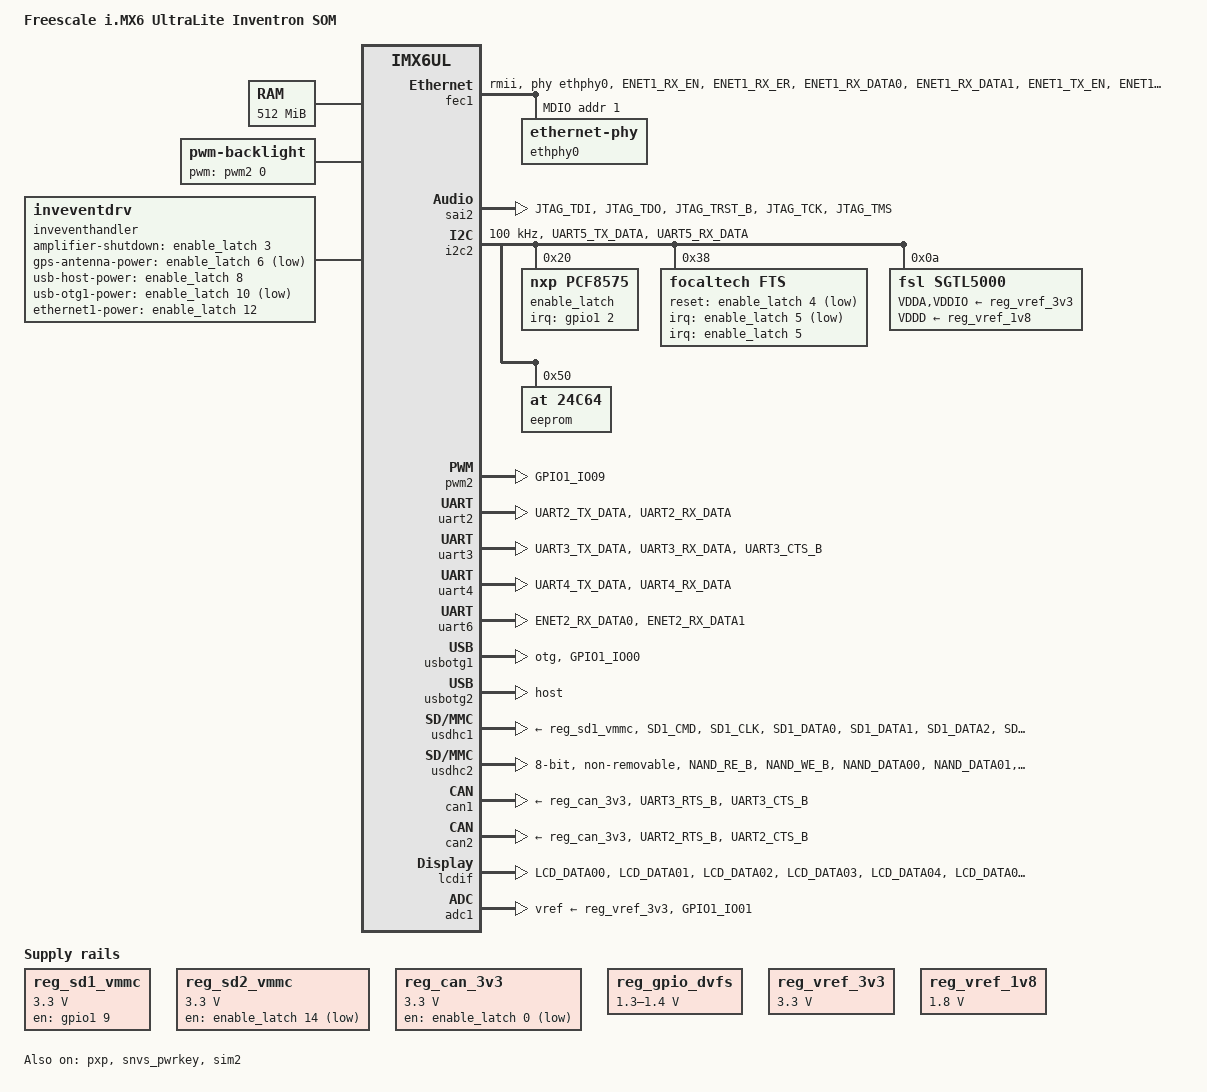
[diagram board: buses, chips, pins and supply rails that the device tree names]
/*
 * Copyright (C) 2015 Freescale Semiconductor, Inc.
 *
 * This program is free software; you can redistribute it and/or modify
 * it under the terms of the GNU General Public License version 2 as
 * published by the Free Software Foundation.
 */

/dts-v1/;

#include "imx6ul-invsom.dtsi"


/ {
	model = "Freescale i.MX6 UltraLite Inventron SOM";
	compatible = "fsl,imx6ul-invsom", "fsl,imx6ul";

	chosen {
		stdout-path = &uart6;
	};

	memory@80000000 {
		device_type = "memory";
		reg = <0x80000000 0x20000000>; /* 512 MB RAM*/
	};

	reserved-memory {
		#address-cells = <1>;
		#size-cells = <1>;
		ranges;

		linux,cma {
			compatible = "shared-dma-pool";
			reusable;
			size = <0x14000000>;
			linux,cma-default;
		};
	};

	backlight {
		compatible = "pwm-backlight";
		pwms = <&pwm2 0 5000000>;
		pwm-names = "lcdbacklight";
		brightness-levels = <0 4 8 16 32 64 128 250>;
		default-brightness-level = <6>;
		status = "okay";
	};
	
	inveventhandler {
		compatible = "inveventdrv";
		status = "okay";
		
		amplifier-shutdown-gpio = <&enable_latch 3 GPIO_ACTIVE_HIGH>; // v1r1'de pin onune mosfet eklenmis.
		gps-antenna-power-gpio = <&enable_latch 6 GPIO_ACTIVE_LOW>;
		usb-host-power-gpio = <&enable_latch 8 GPIO_ACTIVE_HIGH>;
		usb-otg1-power-gpio = <&enable_latch 10 GPIO_ACTIVE_LOW>;
		ethernet1-power-gpio = <&enable_latch 12 GPIO_ACTIVE_HIGH>;

	};
	
	pxp_v4l2 {
		compatible = "fsl,imx6ul-pxp-v4l2", "fsl,imx6sx-pxp-v4l2", "fsl,imx6sl-pxp-v4l2";
		status = "okay";
	};

	reg_sd1_vmmc: sd1_regulator {
		compatible = "regulator-fixed";
		regulator-name = "VSD_3V3";
		regulator-min-microvolt = <3300000>;
		regulator-max-microvolt = <3300000>;
		gpio = <&gpio1 9 GPIO_ACTIVE_HIGH>;
		off-on-delay = <20000>;
		enable-active-high;
	};
	
	reg_sd2_vmmc: sd2_regulator {
		compatible = "regulator-fixed";
		regulator-name = "VSD_3V3_2";
		regulator-min-microvolt = <3300000>;
		regulator-max-microvolt = <3300000>;
		gpio = <&enable_latch 14 GPIO_ACTIVE_LOW>;
		off-on-delay = <20000>;
	};

	reg_can_3v3: regulator@0 {
		compatible = "regulator-fixed";
		reg = <0>;
		regulator-name = "can-3v3";
		regulator-min-microvolt = <3300000>;
		regulator-max-microvolt = <3300000>;
		gpios = <&enable_latch 0 GPIO_ACTIVE_LOW>;
	  	regulator-always-on;
		off-on-delay = <20>;
	};
	
	reg_gpio_dvfs: regulator-gpio {
		compatible = "regulator-gpio";
		pinctrl-names = "default";
		pinctrl-0 = <&pinctrl_dvfs>;
		regulator-min-microvolt = <1300000>;
		regulator-max-microvolt = <1400000>;
		regulator-name = "gpio_dvfs";
		regulator-type = "voltage";
		states = <1300000 0x1 1400000 0x0>;
	};
	
	reg_vref_3v3: regulator-vref {
	  compatible = "regulator-fixed";
	  regulator-name = "vref-3v3";
	  regulator-min-microvolt = <3300000>;
	  regulator-max-microvolt = <3300000>;
	  regulator-always-on;
	  regulator-boot-on;		  
	};
	
	reg_vref_1v8: regulator-vref-1v8 { /* V1.8 */
		compatible = "regulator-fixed";
		regulator-name = "vref-1v8";
		regulator-min-microvolt = <1800000>;
		regulator-max-microvolt = <1800000>;
		regulator-always-on;
	  	regulator-boot-on;		  
	};

	sound {
		compatible = "fsl,imx-audio-sgtl5000";
		model = "imx6ul-sgtl5000";
		ssi-controller = <&sai2>;
		audio-codec = <&sgtl5000>;
		audio-routing =
			"MIC_IN", "Mic Jack",
			"Mic Jack", "Mic Bias",
			"LINE_IN", "Line In Jack",
			"Headphone Jack", "HP_OUT",
			"Ext Spk", "LINE_OUT";
		fsl,no-audmux;
		status = "okay";
	};
};

&clks {
	assigned-clocks = <&clks IMX6UL_CLK_PLL4_AUDIO_DIV>;
	assigned-clock-rates = <786432000>;
};

&fec1 {
	pinctrl-names = "default";
	pinctrl-0 = <&pinctrl_enet1>;
	phy-reset-gpios = <&enable_latch 13 GPIO_ACTIVE_HIGH>; /* ENET1_nRST reset active high (pcf ile phy-rst pini arasindaki mosfetten dolayi) */
	phy-reset-duration = <1>;
	phy-reset-active-high;
	phy-mode = "rmii";
	phy-handle = <&ethphy0>;
	
	nvmem-cells = <&fec_mac_address>;
	nvmem-cell-names = "mac-address";
	nvmem_macaddr_swap;
				
	status = "okay";
	mdio {
		#address-cells = <1>;
		#size-cells = <0>;

		ethphy0: ethernet-phy@1 {
			/* compatible = "ethernet-phy-ieee802.3-c22"; */
			reg = <1>;
			clocks = <&clks IMX6UL_CLK_ENET_REF>;
			clock-names = "rmii-ref";
			status = "okay";			
		};

	};	
};

&sai2 {
	pinctrl-names = "default";
	pinctrl-0 = <&pinctrl_sai2>;
	#clock-cells = <0>;
	assigned-clocks = <&clks IMX6UL_CLK_SAI2_SEL>,
			<&clks IMX6UL_CLK_SAI2>;
	assigned-clock-rates = <0>, <11851852>;
	fsl,sai-mclk-direction-output;
	/* fsl,txmasterflag = <1>;
	fsl,rxmasterflag = <1>; */
	status = "okay";
};

&i2c2 {
	clock-frequency = <100000>;
	pinctrl-names = "default";
	pinctrl-0 = <&pinctrl_i2c2>;
	status = "okay";

	enable_latch: pcf8575@20 {
		compatible = "nxp,pcf8575";
		reg = <0x20>;
		pinctrl-names = "default";
		pinctrl-0 = <&pinctrl_pcf_irq>;		
		gpio-controller;
		#gpio-cells = <2>;
		lines-initial-states = <0x6458>; //inputs and H output as 1, L output as 0
		/* 0x6458 --> 0110 0100 0101 1000
		   0x9BA7 --> 1001 1011 1010 0111 (pinlere giden)
		
		P17 : 1
		P16 : 0
		P15 : 0
		P14 : 1
		P13 : 1
		P12 : 0
		...
		
		 */
		interrupt-controller;
		#interrupt-cells = <2>;
		interrupt-parent = <&gpio1>;
		/*
		 1 = low-to-high edge triggered
        2 = high-to-low edge triggered
        4 = active high level-sensitive
        8 = active low level-sensitive
		*/
		interrupts = <2 2>;
	};

	focaltech@38{ 
		compatible = "focaltech,fts";
		reg = <0x38>;  /* 7 bit addr */
		interrupt-parent = <&enable_latch>;
		interrupts = <5 0x01>; /* PCF 5 */
		focaltech,panel-type = <FT5426>;
		focaltech,reset-gpio = <&enable_latch 4 GPIO_ACTIVE_LOW>;  /* ctp reset */
		focaltech,irq-gpio = <&enable_latch 5 0x01>;
		focaltech,max-touch-number = <5>;
		focaltech,display-coords =  <0 0 480 272>;
		status = "okay";
	};
	
	sgtl5000: codec@0a {
		compatible = "fsl,sgtl5000";
		#sound-dai-cells = <0>;
		reg = <0x0a>;
		VDDA-supply = <&reg_vref_3v3>;
		VDDIO-supply = <&reg_vref_3v3>;
		VDDD-supply = <&reg_vref_1v8>;
		/* clocks = <&clks IMX6UL_CLK_SAI2>;
		clock-names = "mclk"; */
		clocks = <&sai2>;
		status = "okay";
	};
	
	eeprom: eeprom@50 {
        compatible = "at,24c64";
        reg = <0x50>;
        status = "okay";
    };
};

&pwm2 {
	pinctrl-names = "default";
	pinctrl-0 = <&pinctrl_pwm2>;
	status = "okay";
};

&pxp {
	status = "okay";
};

&gpmi {
	pinctrl-names = "default";
	pinctrl-0 = <&pinctrl_gpmi_nand_1>;
	status = "disabled";
	nand-on-flash-bbt;
	partition@0 {
		label = "uboot";
		reg = <0x00000000 0x00400000>;
	};
	partition@1 {
		label = "dtb";
		reg = <0x00400000 0x00100000>;
	};
	partition@2 {
		label = "kernel";
		reg = <0x00500000 0x00800000>;
	};
	partition@3 {
		label = "rootfs";
		reg = <0x00D00000 0>;
	};
};

&uart2 { /* gsm */
	pinctrl-names = "default";
	pinctrl-0 = <&pinctrl_uart2>;
	status = "okay";
};

&uart3 { /* rs232 - rs485 */
	pinctrl-names = "default";
	pinctrl-0 = <&pinctrl_uart3>;
	uart-has-rtscts;
	linux,rs485-enabled-at-boot-time;	
	status = "okay";
};

&uart4 {
	pinctrl-names = "default";
	pinctrl-0 = <&pinctrl_uart4>;
	status = "okay";
};

&uart6 {
	pinctrl-names = "default";
	pinctrl-0 = <&pinctrl_uart6>;
	status = "okay";
};

&usbotg1 {
	pinctrl-names = "default";
	pinctrl-0 = <&pinctrl_usb_otg1_id>;
	dr_mode = "otg";
	srp-disable;
	hnp-disable;
	adp-disable;
	disable-over-current;
	status = "okay";
};

&usbotg2 {
	dr_mode = "host";
	disable-over-current;
	status = "okay";
};

&usbphy1 {
	tx-d-cal = <0x5>;
};

&usbphy2 {
	tx-d-cal = <0x5>;
};

&usdhc1 {
	pinctrl-names = "default", "state_100mhz", "state_200mhz";
	pinctrl-0 = <&pinctrl_usdhc1>;
	pinctrl-1 = <&pinctrl_usdhc1_100mhz>;
	pinctrl-2 = <&pinctrl_usdhc1_200mhz>;
	keep-power-in-suspend;
	wakeup-source;
	vmmc-supply = <&reg_sd1_vmmc>;
	status = "okay";
};

&usdhc2 {
	pinctrl-names = "default";
	pinctrl-0 = <&pinctrl_usdhc2>;
	/* cd-gpios = <&enable_latch 15 GPIO_ACTIVE_LOW>; 
	vmmc-supply = <&reg_sd2_vmmc>; */
	keep-power-in-suspend;
	non-removable;
	bus-width = <8>;
	/* no-1-8-v; */
	status = "okay";
};

&wdog1 {
	/*pinctrl-names = "default";
	pinctrl-0 = <&pinctrl_wdog>;
	fsl,ext-reset-output;*/
	status = "disabled";
};

&snvs_poweroff {
	status = "okay";
};

&snvs_pwrkey {
	status = "okay";
};

&can1 {
	pinctrl-names = "default";
	pinctrl-0 = <&pinctrl_flexcan0>;
	xceiver-supply = <&reg_can_3v3>;
	status = "okay";
};

&can2 {
	pinctrl-names = "default";
	pinctrl-0 = <&pinctrl_flexcan1>;
	xceiver-supply = <&reg_can_3v3>;
	status = "okay";
};

&sim2 {
	pinctrl-names = "default";
	pinctrl-0 = <&pinctrl_sim2>;
	assigned-clocks = <&clks IMX6UL_CLK_SIM_SEL>;
	assigned-clock-parents = <&clks IMX6UL_CLK_SIM_PODF>;
	assigned-clock-rates = <240000000>;
	/* GPIO_ACTIVE_HIGH/LOW:sim card voltage control
	 * NCN8025:Vcc = ACTIVE_HIGH?5V:3V
	 * TDA8035:Vcc = ACTIVE_HIGH?5V:1.8V
	pinctrl-assert-gpios = <&gpio4 23 GPIO_ACTIVE_HIGH>;
	 */
	sim-module = <2>;
	port = <0>;
	/* sven_low_active; */
	status = "okay";
};

&lcdif {
	pinctrl-names = "default";
	pinctrl-0 = <&pinctrl_lcdif_dat
		     &pinctrl_lcdif_ctrl>;
	display = <&display0>;
	status = "okay";
	/*enable-gpio = <&gpio3 4 GPIO_ACTIVE_HIGH>;*/

	display0: display@0 {
		bits-per-pixel = <32>;
		bus-width = <24>;
		/*lcd_panel = "INVTFT";*/
		status = "okay";
		
		display-timings {
			native-mode = <&timing0>;

			timing0: timing0 {
				clock-frequency = <9216000>;
				hactive = <480>;
				vactive = <272>;
				hfront-porch = <8>;
				hback-porch = <43>;
				hsync-len = <53>;
				vback-porch = <12>;
				vfront-porch = <8>;
				vsync-len = <29>;
				hsync-active = <0>;
				vsync-active = <0>;
				de-active = <1>;
				pixelclk-active = <1>;
			};
		};
	};
};

&adc1 {
	pinctrl-names = "default";
	pinctrl-0 = <&pinctrl_adc1>;
	vref-supply = <&reg_vref_3v3>;
	num-channels = <1>;
	status = "okay";
};

&iomuxc {
	pinctrl-names = "default";
	pinctrl-0 = <&pinctrl_hog_1>;

	pinctrl_hog_1: hoggrp-1 {
		fsl,pins = <
            MX6UL_PAD_GPIO1_IO03__GPIO1_IO03            0x000010B0	/* ENET1_nINT */
			/* MX6UL_PAD_GPIO1_IO04__GPIO1_IO04			0x000010B0  output: wifi modul 1:acik */
			MX6UL_PAD_GPIO1_IO08__GPIO1_IO08			0x000010B0 /* gsm power 500ms 1 then 0: on */
			MX6UL_PAD_GPIO1_IO05__GPIO1_IO05			0x000010B0 /* empty gpio test */
			
			MX6UL_PAD_UART1_RTS_B__GPIO1_IO19 0x1b0b1 /* input */
			MX6UL_PAD_UART1_CTS_B__GPIO1_IO18 0x1b0b1 /* output */
		>;
	};
	
	pinctrl_spdif: spdifgrp {
		fsl,pins = <
			MX6UL_PAD_JTAG_MOD__SPDIF_OUT          0x1b0b0
		>;
	};
	
	pinctrl_pcf_irq: pinctrl-pcf-irq {
		fsl,pins = <
			MX6UL_PAD_GPIO1_IO02__GPIO1_IO02			0x000010B0	/* PCF Interrupt */
			 >;
	};
	
	pinctrl_sim2: sim2grp {
		fsl,pins = <
			MX6UL_PAD_ENET2_TX_DATA1__SIM2_PORT0_TRXD		0xb809
			MX6UL_PAD_ENET2_TX_EN__SIM2_PORT0_CLK		0x31
			MX6UL_PAD_ENET2_TX_CLK__SIM2_PORT0_RST_B		0xb808
			MX6UL_PAD_ENET2_RX_ER__SIM2_PORT0_SVEN		0xb808
		>;
	};
	
	pinctrl_flexcan0: flexcan0grp{
		fsl,pins = <
			MX6UL_PAD_UART3_RTS_B__FLEXCAN1_RX	0x1b020
			MX6UL_PAD_UART3_CTS_B__FLEXCAN1_TX	0x1b020
		>;
	};

	pinctrl_flexcan1: flexcan1grp{
		fsl,pins = <
			MX6UL_PAD_UART2_RTS_B__FLEXCAN2_RX	0x1b0b1
			MX6UL_PAD_UART2_CTS_B__FLEXCAN1_TX	0x1b0b1
		>;
	};
	
	pinctrl_dvfs: dvfsgrp {
		fsl,pins = <
			MX6UL_PAD_SNVS_TAMPER3__GPIO5_IO03	0x79
		>;
	};

	pinctrl_ecspi2_1: ecspi2grp-1 {
		fsl,pins = <
            MX6UL_PAD_UART4_RX_DATA__ECSPI2_SS0        0x000010B0
            MX6UL_PAD_UART4_TX_DATA__ECSPI2_SCLK       0x000010B0
            MX6UL_PAD_UART5_RX_DATA__ECSPI2_MISO       0x000010B0
            MX6UL_PAD_UART5_TX_DATA__ECSPI2_MOSI       0x000010B0
		>;
	};

	pinctrl_enet1: enet1grp {
		fsl,pins = <
			MX6UL_PAD_ENET1_RX_EN__ENET1_RX_EN	0x1b0b0
			MX6UL_PAD_ENET1_RX_ER__ENET1_RX_ER	0x1b0b0
			MX6UL_PAD_ENET1_RX_DATA0__ENET1_RDATA00	0x1b0b0
			MX6UL_PAD_ENET1_RX_DATA1__ENET1_RDATA01	0x1b0b0
			MX6UL_PAD_ENET1_TX_EN__ENET1_TX_EN	0x1b0b0
			MX6UL_PAD_ENET1_TX_DATA0__ENET1_TDATA00	0x1b0b0
			MX6UL_PAD_ENET1_TX_DATA1__ENET1_TDATA01	0x1b0b0
			MX6UL_PAD_ENET1_TX_CLK__ENET1_REF_CLK1	0x4001b031
            MX6UL_PAD_GPIO1_IO06__ENET1_MDIO           0x000010B0
            MX6UL_PAD_GPIO1_IO07__ENET1_MDC            0x000010B0
            
		>;
	};

	pinctrl_i2c1: i2c1grp {
		fsl,pins = <
			MX6UL_PAD_UART4_TX_DATA__I2C1_SCL 0x4001b8b0
			MX6UL_PAD_UART4_RX_DATA__I2C1_SDA 0x4001b8b0
		>;
	};
	
	pinctrl_i2c2: i2c2grp {
		fsl,pins = <
			MX6UL_PAD_UART5_TX_DATA__I2C2_SCL 0x4001F0B1
			MX6UL_PAD_UART5_RX_DATA__I2C2_SDA 0x4001F0B1
		>;
	};
	
	pinctrl_gpmi_nand_1: gpmi-nand-1 {
		fsl,pins = <
            MX6UL_PAD_NAND_ALE__RAWNAND_ALE            0xb0b1
            MX6UL_PAD_NAND_CE0_B__RAWNAND_CE0_B        0xb0b1
            MX6UL_PAD_NAND_CE1_B__RAWNAND_CE1_B        0xb0b1
            MX6UL_PAD_NAND_CLE__RAWNAND_CLE            0xb0b1
            MX6UL_PAD_NAND_DATA00__RAWNAND_DATA00      0xb0b1
            MX6UL_PAD_NAND_DATA01__RAWNAND_DATA01      0xb0b1
            MX6UL_PAD_NAND_DATA02__RAWNAND_DATA02      0xb0b1
            MX6UL_PAD_NAND_DATA03__RAWNAND_DATA03      0xb0b1
            MX6UL_PAD_NAND_DATA04__RAWNAND_DATA04      0xb0b1
            MX6UL_PAD_NAND_DATA05__RAWNAND_DATA05      0xb0b1
            MX6UL_PAD_NAND_DATA06__RAWNAND_DATA06      0xb0b1
            MX6UL_PAD_NAND_DATA07__RAWNAND_DATA07      0xb0b1
            MX6UL_PAD_NAND_DQS__RAWNAND_DQS            0xb0b1
            MX6UL_PAD_NAND_READY_B__RAWNAND_READY_B    0xb000
            MX6UL_PAD_NAND_RE_B__RAWNAND_RE_B          0xb0b1
            MX6UL_PAD_NAND_WE_B__RAWNAND_WE_B          0xb0b1
            MX6UL_PAD_NAND_WP_B__RAWNAND_WP_B          0xb0b1
		>;
	};

	pinctrl_pwm2: pwm2grp {
		fsl,pins = <
            MX6UL_PAD_GPIO1_IO09__PWM2_OUT             0x110b0 
		>;
	};

	pinctrl_uart1: uart1grp {
		fsl,pins = <
		/*	MX6UL_PAD_UART1_TX_DATA__UART1_DTE_RX 0x1b0b1
			MX6UL_PAD_UART1_RX_DATA__UART1_DTE_TX 0x1b0b1
			MX6UL_PAD_UART1_RTS_B__UART1_DTE_CTS 0x1b0b1
			MX6UL_PAD_UART1_CTS_B__UART1_DTE_RTS 0x1b0b1
		*/		
		
			MX6UL_PAD_UART1_TX_DATA__UART1_DCE_TX 0x1b0b1
			MX6UL_PAD_UART1_RX_DATA__UART1_DCE_RX 0x1b0b1
			/*MX6UL_PAD_UART1_RTS_B__UART1_DCE_RTS 0x1b0b1
			MX6UL_PAD_UART1_CTS_B__UART1_DCE_CTS 0x1b0b1*/
			
		>;
	};

	pinctrl_uart2: uart2grp {
		fsl,pins = <
			MX6UL_PAD_UART2_TX_DATA__UART2_DCE_TX	0x1b0b1
			MX6UL_PAD_UART2_RX_DATA__UART2_DCE_RX	0x1b0b1
			/* MX6UL_PAD_UART2_RTS_B__UART2_DTE_CTS	0x1b0b1
			MX6UL_PAD_UART2_CTS_B__UART2_DTE_RTS	0x1b0b1 */
		>;
	};

	pinctrl_uart3: uart3grp {
		fsl,pins = <
			MX6UL_PAD_UART3_TX_DATA__UART3_DCE_TX	0x1b0b1
			MX6UL_PAD_UART3_RX_DATA__UART3_DCE_RX	0x1b0b1
			MX6UL_PAD_UART3_CTS_B__UART3_DCE_CTS	0x1b0b1
		>;
	};
		
	pinctrl_uart4: uart4grp {
		fsl,pins = <
			MX6UL_PAD_UART4_TX_DATA__UART4_DCE_TX 0x1b0b1
			MX6UL_PAD_UART4_RX_DATA__UART4_DCE_RX 0x1b0b1
		>;
	};

	pinctrl_uart6: uart6grp {
		fsl,pins = <
			MX6UL_PAD_ENET2_RX_DATA0__UART6_DCE_TX 0x1b0b1
			MX6UL_PAD_ENET2_RX_DATA1__UART6_DCE_RX 0x1b0b1
		>;
	};
	
	pinctrl_usb_otg1_id: usbotg1idgrp {
		fsl,pins = <
			MX6UL_PAD_GPIO1_IO00__ANATOP_OTG1_ID	0x17059
		>;
	};

	pinctrl_usdhc1: usdhc1grp {
		fsl,pins = <
			MX6UL_PAD_SD1_CMD__USDHC1_CMD     	0x17059
			MX6UL_PAD_SD1_CLK__USDHC1_CLK     	0x10071
			MX6UL_PAD_SD1_DATA0__USDHC1_DATA0 	0x17059
			MX6UL_PAD_SD1_DATA1__USDHC1_DATA1 	0x17059
			MX6UL_PAD_SD1_DATA2__USDHC1_DATA2 	0x17059
			MX6UL_PAD_SD1_DATA3__USDHC1_DATA3 	0x17059
		>;
	};

	pinctrl_usdhc1_100mhz: usdhc1grp100mhz {
		fsl,pins = <
			MX6UL_PAD_SD1_CMD__USDHC1_CMD     	0x170b9
			MX6UL_PAD_SD1_CLK__USDHC1_CLK     	0x100b9
			MX6UL_PAD_SD1_DATA0__USDHC1_DATA0 	0x170b9
			MX6UL_PAD_SD1_DATA1__USDHC1_DATA1 	0x170b9
			MX6UL_PAD_SD1_DATA2__USDHC1_DATA2 	0x170b9
			MX6UL_PAD_SD1_DATA3__USDHC1_DATA3 	0x170b9
			/* MX6UL_PAD_UART1_RTS_B__USDHC1_CD_B       0x17059 SD1 CD */		
		>;
	};

	pinctrl_usdhc1_200mhz: usdhc1grp200mhz {
		fsl,pins = <
			MX6UL_PAD_SD1_CMD__USDHC1_CMD     	0x170f9
			MX6UL_PAD_SD1_CLK__USDHC1_CLK     	0x100f9
			MX6UL_PAD_SD1_DATA0__USDHC1_DATA0 	0x170f9
			MX6UL_PAD_SD1_DATA1__USDHC1_DATA1 	0x170f9
			MX6UL_PAD_SD1_DATA2__USDHC1_DATA2 	0x170f9
			MX6UL_PAD_SD1_DATA3__USDHC1_DATA3 	0x170f9
			/* MX6UL_PAD_UART1_RTS_B__USDHC1_CD_B       0x17059 SD1 CD */	
		>;
	};

	pinctrl_usdhc2: usdhc2grp {
		fsl,pins = <
            MX6UL_PAD_NAND_RE_B__USDHC2_CLK     0x17059
            MX6UL_PAD_NAND_WE_B__USDHC2_CMD     0x17059
            MX6UL_PAD_NAND_DATA00__USDHC2_DATA0 0x170b9
			MX6UL_PAD_NAND_DATA01__USDHC2_DATA1 0x170b9
			MX6UL_PAD_NAND_DATA02__USDHC2_DATA2 0x170b9
			MX6UL_PAD_NAND_DATA03__USDHC2_DATA3 0x170b9
			MX6UL_PAD_NAND_DATA04__USDHC2_DATA4 0x170b9
			MX6UL_PAD_NAND_DATA05__USDHC2_DATA5 0x170b9
			MX6UL_PAD_NAND_DATA06__USDHC2_DATA6 0x170b9
			MX6UL_PAD_NAND_DATA07__USDHC2_DATA7 0x170b9
			MX6UL_PAD_NAND_ALE__USDHC2_RESET_B  0xb0b1
			
			/*
			MX6UL_PAD_CSI_VSYNC__USDHC2_CLK     0x10069
			MX6UL_PAD_CSI_HSYNC__USDHC2_CMD     0x17059
			MX6UL_PAD_CSI_DATA00__USDHC2_DATA0 0x17059
			MX6UL_PAD_CSI_DATA01__USDHC2_DATA1 0x17059
			MX6UL_PAD_CSI_DATA02__USDHC2_DATA2 0x17059
			MX6UL_PAD_CSI_DATA03__USDHC2_DATA3 0x17059
			*/
		>;
	};

	pinctrl_sai2: sai2grp {
		fsl,pins = <
			MX6UL_PAD_JTAG_TDI__SAI2_TX_BCLK	0x17088
			MX6UL_PAD_JTAG_TDO__SAI2_TX_SYNC	0x17088
			MX6UL_PAD_JTAG_TRST_B__SAI2_TX_DATA	0x11088
			MX6UL_PAD_JTAG_TCK__SAI2_RX_DATA	0x11088
			MX6UL_PAD_JTAG_TMS__SAI2_MCLK		0x4001b031
		>;
	};

	pinctrl_lcdif_dat: lcdifdatgrp {
		fsl,pins = <
                MX6UL_PAD_LCD_DATA00__LCDIF_DATA00         0x79
                MX6UL_PAD_LCD_DATA01__LCDIF_DATA01         0x79
                MX6UL_PAD_LCD_DATA02__LCDIF_DATA02         0x79
                MX6UL_PAD_LCD_DATA03__LCDIF_DATA03         0x79
                MX6UL_PAD_LCD_DATA04__LCDIF_DATA04         0x79
                MX6UL_PAD_LCD_DATA05__LCDIF_DATA05         0x79
                MX6UL_PAD_LCD_DATA06__LCDIF_DATA06         0x79
                MX6UL_PAD_LCD_DATA07__LCDIF_DATA07         0x79
                MX6UL_PAD_LCD_DATA08__LCDIF_DATA08         0x79
                MX6UL_PAD_LCD_DATA09__LCDIF_DATA09         0x79
                MX6UL_PAD_LCD_DATA10__LCDIF_DATA10         0x79
                MX6UL_PAD_LCD_DATA11__LCDIF_DATA11         0x79
                MX6UL_PAD_LCD_DATA12__LCDIF_DATA12         0x79
                MX6UL_PAD_LCD_DATA13__LCDIF_DATA13         0x79
                MX6UL_PAD_LCD_DATA14__LCDIF_DATA14         0x79
                MX6UL_PAD_LCD_DATA15__LCDIF_DATA15         0x79
                MX6UL_PAD_LCD_DATA16__LCDIF_DATA16         0x79
                MX6UL_PAD_LCD_DATA17__LCDIF_DATA17         0x79
                MX6UL_PAD_LCD_DATA18__LCDIF_DATA18         0x79
                MX6UL_PAD_LCD_DATA19__LCDIF_DATA19         0x79
                MX6UL_PAD_LCD_DATA20__LCDIF_DATA20         0x79
                MX6UL_PAD_LCD_DATA21__LCDIF_DATA21         0x79
                MX6UL_PAD_LCD_DATA22__LCDIF_DATA22         0x79
                MX6UL_PAD_LCD_DATA23__LCDIF_DATA23         0x79
		>;
	};

	pinctrl_lcdif_ctrl: lcdifctrlgrp {
		fsl,pins = <
            MX6UL_PAD_LCD_CLK__LCDIF_CLK               0x79
            MX6UL_PAD_LCD_ENABLE__LCDIF_ENABLE         0x79
            MX6UL_PAD_LCD_HSYNC__LCDIF_HSYNC           0x79
            /*MX6UL_PAD_LCD_RESET__LCDIF_RESET           0x79
            MX6UL_PAD_LCD_RESET__GPIO3_IO04			   0x79*/
            MX6UL_PAD_LCD_VSYNC__LCDIF_VSYNC           0x79
		>;
	};
			
	pinctrl_wdog: wdoggrp {
		fsl,pins = <
			MX6UL_PAD_GPIO1_IO09__WDOG1_WDOG_ANY    0x30b0
		>;
	};

	pinctrl_adc1: adc1grp {
		fsl,pins = <
			MX6UL_PAD_GPIO1_IO01__GPIO1_IO01 0xb0
		>;
	};

};

#include "imx6ul-invsom-btwifi.dtsi"
